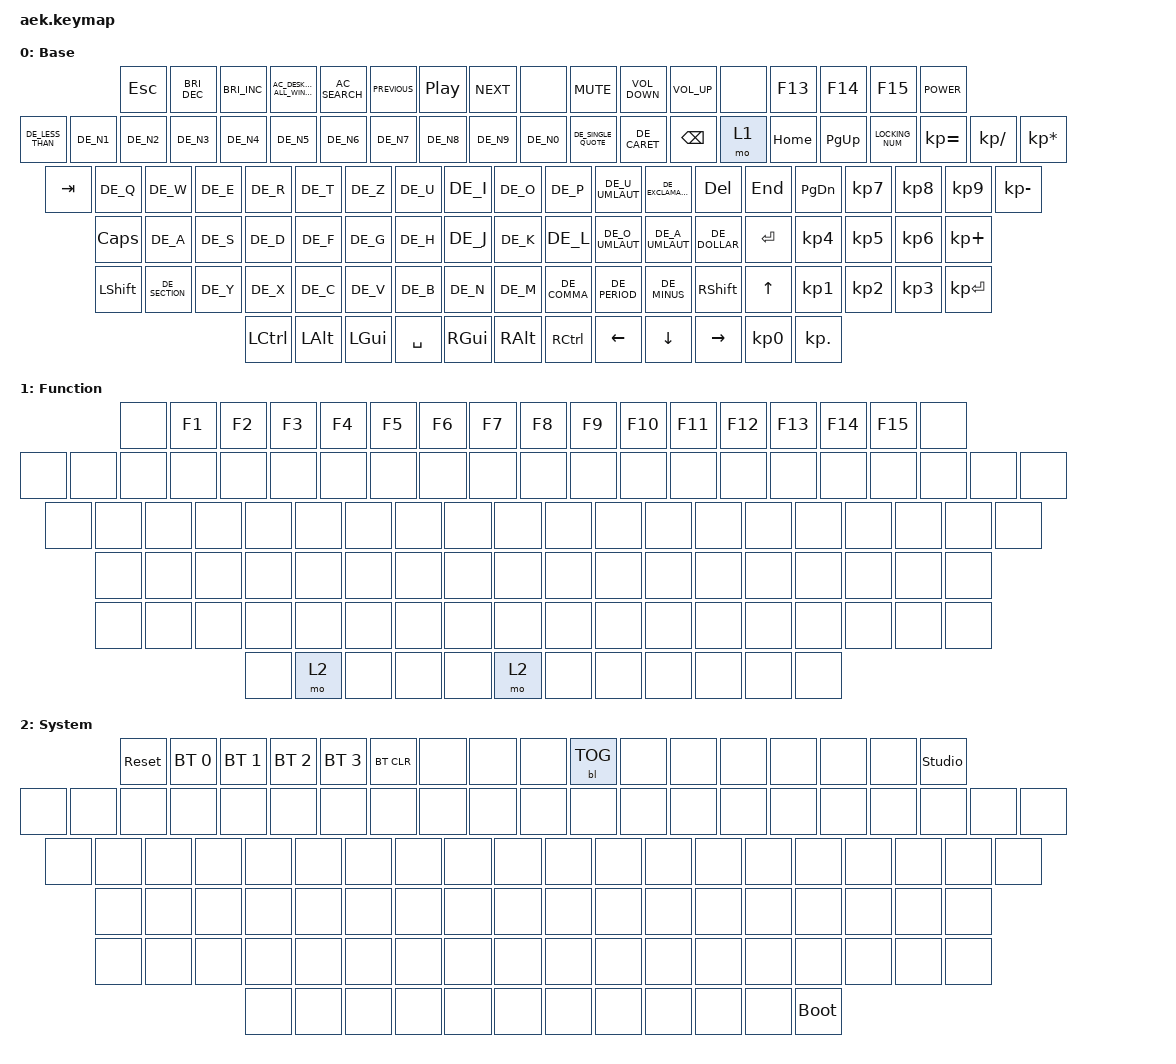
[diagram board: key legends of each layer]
#include <behaviors.dtsi>
#include <dt-bindings/zmk/keys.h>
#include <dt-bindings/zmk/bt.h>
#include <dt-bindings/zmk/backlight.h>
#include "keys_de_swiss.h"

/ {
    keymap {
        compatible = "zmk,keymap";

        default_layer { // LAYER 0
            display-name = "Base";
            bindings = <
                &kp ESC          &kp C_BRIGHTNESS_DEC  &kp C_BRIGHTNESS_INC  &kp C_AC_DESKTOP_SHOW_ALL_WINDOWS  &kp C_AC_SEARCH     &kp C_PREVIOUS &kp C_PLAY_PAUSE &kp C_NEXT &none     &kp C_MUTE &kp C_VOLUME_DOWN &kp C_VOLUME_UP &none              &kp F13 &kp F14 &kp F15                                   &kp C_POWER 
                
                &kp DE_LESS_THAN   &kp DE_N1 &kp DE_N2 &kp DE_N3 &kp DE_N4 &kp DE_N5 &kp DE_N6 &kp DE_N7 &kp DE_N8 &kp DE_N9 &kp DE_N0 &kp DE_SINGLE_QUOTE &kp DE_CARET &kp BACKSPACE           &mo 1 &kp HOME &kp PAGE_UP           &kp LOCKING_NUM &kp KP_EQUAL &kp KP_DIVIDE &kp KP_MULTIPLY 
                &kp TAB       &kp DE_Q &kp DE_W &kp DE_E &kp DE_R &kp DE_T &kp DE_Z &kp DE_U &kp DE_I &kp DE_O &kp DE_P &kp DE_U_UMLAUT &kp DE_EXCLAMATION                                      &kp DELETE &kp END &kp PAGE_DOWN     &kp KP_NUMBER_7 &kp KP_NUMBER_8 &kp KP_NUMBER_9 &kp KP_MINUS
                &kp CAPSLOCK         &kp DE_A &kp DE_S &kp DE_D &kp DE_F &kp DE_G &kp DE_H &kp DE_J &kp DE_K &kp DE_L &kp DE_O_UMLAUT &kp DE_A_UMLAUT &kp DE_DOLLAR &kp ENTER                                                        &kp KP_NUMBER_4 &kp KP_NUMBER_5 &kp KP_NUMBER_6 &kp KP_PLUS
                &kp LEFT_SHIFT     &kp DE_SECTION &kp DE_Y &kp DE_X &kp DE_C &kp DE_V &kp DE_B &kp DE_N &kp DE_M &kp DE_COMMA &kp DE_PERIOD &kp DE_MINUS &kp RIGHT_SHIFT                              &kp UP_ARROW                 &kp KP_NUMBER_1 &kp KP_NUMBER_2 &kp KP_NUMBER_3 &kp KP_ENTER
                &kp LEFT_CONTROL    &kp LEFT_ALT   &kp LEFT_GUI    &kp SPACE                                            &kp RIGHT_GUI    &kp RIGHT_ALT   &kp RIGHT_CONTROL         &kp LEFT_ARROW &kp DOWN_ARROW &kp RIGHT_ARROW     &kp KP_NUMBER_0        &kp KP_DOT  
            >;
        };

        media_layer { // LAYER 1
            display-name = "Function";

            bindings = <
                &none         &kp F1 &kp F2 &kp F3 &kp F4     &kp F5 &kp F6 &kp F7 &kp F8     &kp F9 &kp F10 &kp F11 &kp F12              &kp F13 &kp F14 &kp F15             &none 
                
                &none   &none &none &none &none &none &none &none &none &none &none &none &none &none           &none &none &none           &none &none &none &none 
                &none       &none &none &none &none &none &none &none &none &none &none &none &none                                      &none &none &none     &none &none &none &none
                &none         &none &none &none &none &none &none &none &none &none &none &none &none &none                                                        &none &none &none &none
                &none     &none &none &none &none &none &none &none &none &none &none &none &none                              &none                 &none &none &none &none
                &none    &mo 2   &none    &none                                            &none    &mo 2   &none         &none &none &none     &none        &none  
            >;
        };

        system_layer { // LAYER 2
            display-name = "System";

            bindings = <
                &sys_reset         &bt BT_SEL 0 &bt BT_SEL 1  &bt BT_SEL 2  &bt BT_SEL 3     &bt BT_CLR &none &none &none     &bl BL_TOG &none &none &none              &none &none &none             &studio_unlock 
                
                &none   &none &none &none &none &none &none &none &none &none &none &none &none &none           &none &none &none           &none &none &none &none 
                &none       &none &none &none &none &none &none &none &none &none &none &none &none                                      &none &none &none     &none &none &none &none
                &none         &none &none &none &none &none &none &none &none &none &none &none &none &none                                                        &none &none &none &none
                &none     &none &none &none &none &none &none &none &none &none &none &none &none                              &none                 &none &none &none &none
                &none    &none   &none    &none                                            &none    &none   &none         &none &none &none     &none        &bootloader 
            >;
        };
    };
};
